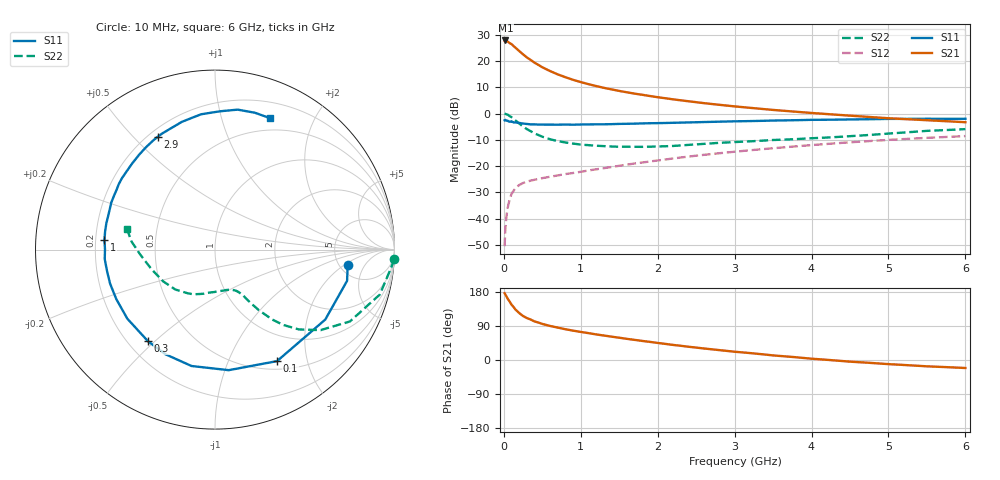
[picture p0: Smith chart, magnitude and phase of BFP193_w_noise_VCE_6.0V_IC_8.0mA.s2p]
! Infineon Technologies  Discrete & RF Semiconductors
! BFP193
! VCE =  6.0 V,  IC =  8.0 mA
! Common Emitter S-Parameters:  Jan 2017
# GHz  S  MA  R  50
!  f  S11  S21  S12  S22
! GHz  MAG  ANG  MAG  ANG  MAG  ANG  MAG  ANG
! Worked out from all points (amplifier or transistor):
!   77 points, 10 MHz to 6 GHz, reference 50 ohm
!   highest |S21| = 27.8 dB at 20 MHz (marker M1)
!   |S21| within 3 dB of that: start of sweep to 160.8 MHz
!   unconditionally stable (mu >= 1): 1.224 GHz to 2.589 GHz
!   at 130 MHz: K = 0.20, MSG = 27.4 dB, |S12| = -29.2 dB
!   at 2.2 GHz: K = 1.04, MAG = 10.0 dB, |S12| = -17.1 dB
!   at 6 GHz: K = 0.86, MSG = 2.6 dB, |S12| = -8.6 dB
!   lowest NFmin = 0.85 dB at 450 MHz
!   S11 on the Smith chart (normalised r, x): 10 MHz: 5.88, -2.33; 100 MHz: 0.61, -1.53; 300 MHz: 0.28, -0.48; 1 GHz: 0.24, +0.04; 2.9 GHz: 0.24, +0.59; 6 GHz: 0.36, +1.43
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0.01  0.7445 -6.8  24.32 176.2  0.003 87.4  1 -3.1
0.02  0.7562 -13.3  24.51 172.6  0.0066 88.8  0.9839 -6.4
0.05  0.7276 -32.4  23.32 161.7  0.0161 73.0  0.9514 -15.3
0.1  0.711 -60.9  20.87 146.0  0.0295 62.6  0.852 -28.0
0.15  0.6761 -83.5  17.92 133.3  0.038 53.8  0.7402 -37.3
0.2  0.6616 -101.4  15.42 123.9  0.0437 48.9  0.645 -43.6
0.25  0.6452 -115.3  13.34 116.1  0.0477 44.0  0.5666 -47.8
0.3  0.6327 -126.1  11.64 110.6  0.0507 42.5  0.5038 -50.7
0.4  0.6219 -141.8  9.238 101.7  0.0551 40.1  0.4174 -54.1
0.5  0.6152 -153.3  7.578 95.2  0.059 39.4  0.3622 -56.1
0.6  0.6145 -162.0  6.429 89.9  0.0627 40.5  0.3247 -57.5
0.7  0.6133 -168.8  5.558 85.5  0.0664 41.4  0.2985 -58.5
0.9  0.6129 179.7  4.371 77.5  0.0739 44.3  0.268 -61.3
1  0.6182 175.0  3.962 74.1  0.0779 45.1  0.2565 -63.1
1.1  0.6206 170.6  3.618 70.9  0.0826 46.0  0.2501 -64.8
1.5  0.6344 155.7  2.689 58.8  0.1013 48.7  0.2335 -74.9
2.1  0.6604 136.6  1.95 42.5  0.1337 49.2  0.2385 -94.2
2.9  0.7046 116.9  1.415 24.0  0.1815 45.4  0.2815 -119.0
3.1  0.7137 112.5  1.324 20.1  0.1937 43.9  0.2908 -124.6
4.1  0.7593 94.3  1.001 2.0  0.2572 35.4  0.3434 -151.7
5.1  0.7899 79.4  0.799 -12.0  0.3208 24.5  0.425 -177.9
6  0.7938 67.5  0.683 -21.1  0.3723 14.1  0.5048 166.6
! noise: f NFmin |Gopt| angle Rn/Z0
0.45  0.85  0.21  129  0.09
0.9  0.97  0.36  162  0.07
1.9  1.79  0.58  -148  0.12
2.4  2.19  0.64  -129  0.31
